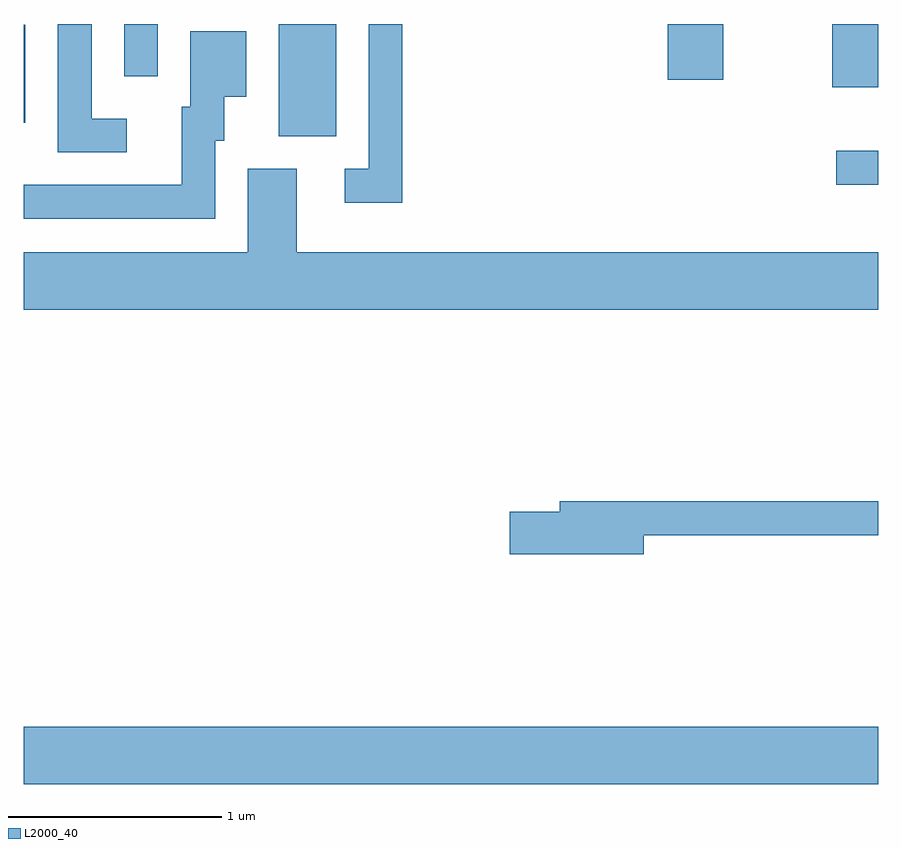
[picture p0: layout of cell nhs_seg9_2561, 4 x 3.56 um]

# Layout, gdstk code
import gdstk
lib = gdstk.Library(unit=1e-6, precision=1e-09)
def R(c, l, rs):  # rectangles x0, y0, x1, y1
    for r in rs: c.add(gdstk.rectangle(r[:2], r[2:], *l))
def P(c, l, *ps):  # polygons
    for p in ps: c.add(gdstk.Polygon(p, *l))
L2000_40 = (2000, 40)

nhs_seg9_2561 = lib.new_cell('nhs_seg9_2561')
R(nhs_seg9_2561, L2000_40, [(259.611,2042.876,263.611,2043.144), (263.413,2045.681,263.611,2045.839), (260.806,2045.906,261.074,2046.432), (259.611,2045.971,259.619,2046.429), (263.396,2046.136,263.611,2046.432), (262.626,2046.171,262.884,2046.432), (260.081,2046.188,260.239,2046.432)])
P(nhs_seg9_2561, L2000_40, [(261.384,2046.432),(261.226,2046.432),(261.226,2045.754),(261.113,2045.754),(261.113,2045.596),(261.384,2045.596)],
  [(260.093,2045.989),(259.929,2045.989),(259.929,2046.432),(259.771,2046.432),(259.771,2045.831),(260.093,2045.831)],
  [(260.509,2045.886),(260.549,2045.886),(260.549,2046.091),(260.654,2046.091),(260.654,2046.399),(260.391,2046.399),(260.391,2046.044),(260.351,2046.044),(260.351,2045.679),(259.611,2045.679),(259.611,2045.521),(260.509,2045.521)],
  [(263.611,2045.364),(260.889,2045.364),(260.889,2045.754),(260.661,2045.754),(260.661,2045.364),(259.611,2045.364),(259.611,2045.096),(263.611,2045.096)],
  [(262.514,2044.041),(263.611,2044.041),(263.611,2044.199),(262.121,2044.199),(262.121,2044.149),(261.886,2044.149),(261.886,2043.951),(262.514,2043.951)])

lib.write_gds('nhs_seg9_2561.gds')
